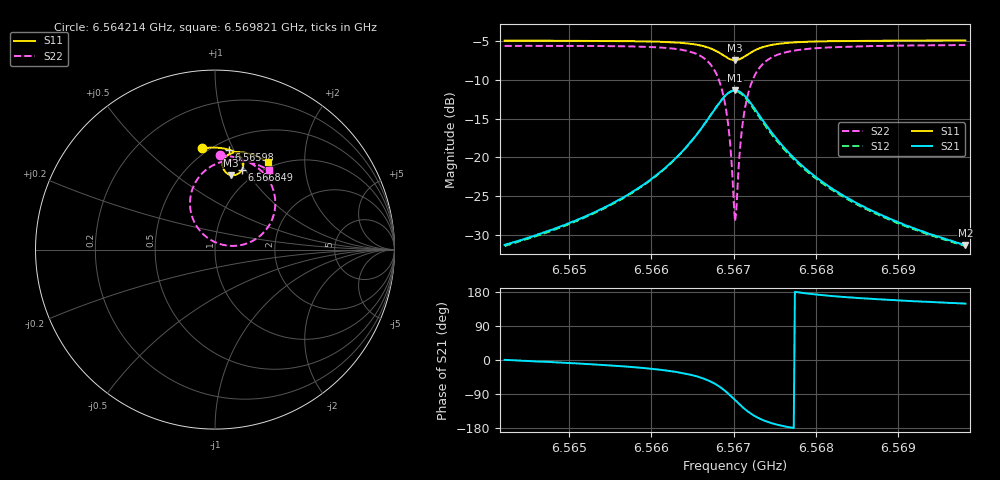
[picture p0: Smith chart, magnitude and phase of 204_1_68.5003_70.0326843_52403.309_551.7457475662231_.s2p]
#  HZ  S  RI  R  50.00
! Rohde & Schwarz Vector Network Analyzer
! Rohde-Schwarz,ZNB20-2Port,1311601062101988,3.16
! Created: UTC 3/20/2024, 4:57:44 PM
! freq[Hz]  re:S11  im:S11  re:S21  im:S21  re:S12  im:S12  re:S22  im:S22
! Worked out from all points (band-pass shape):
!   401 points, 6.564214 GHz to 6.569821 GHz, reference 50 ohm
!   highest |S21| = -11.32 dB at 6.567017 GHz (marker M1); lowest = -31.4 dB at 6.569821 GHz (marker M2)
!   |S21| within 3 dB of the highest: 6.566736 GHz to 6.567297 GHz (561.2 kHz wide, 0.00855 % of centre)
!   lowest |S11| = -7.4 dB at 6.567017 GHz (marker M3), VSWR 2.48, Z = 40.7 + j41.4 ohm
!   |S11| at or under -10 dB: nowhere
!   |S22| runs from -28.2 to -5.5 dB; largest |S21 - S12| = 0.013
!   S11 on the Smith chart (normalised r, x): 6.564214 GHz: 0.46, +0.77; 6.56598 GHz: 0.59, +0.96; 6.566849 GHz: 0.85, +0.96; 6.569821 GHz: 0.92, +1.33
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6.5642138e9  -0.0736 0.5643  0.0271 0.000203  0.0267 -0.000452  0.0262 0.5259
6.565153e9  0.00278 0.568  0.04 -0.00683  0.0394 -0.00741  0.114 0.5141
6.5659801e9  0.0788 0.5568  0.0655 -0.0275  0.0646 -0.0283  0.2176 0.4704
6.5660922e9  0.0903 0.5531  0.0714 -0.0339  0.0704 -0.0348  0.2357 0.4575
6.5663866e9  0.1236 0.5356  0.0908 -0.0633  0.0895 -0.0645  0.2916 0.3998
6.5666109e9  0.1494 0.5066  0.1052 -0.1136  0.103 -0.1156  0.3323 0.3024
6.5667511e9  0.1577 0.4736  0.0984 -0.1713  0.094 -0.1744  0.3266 0.1922
6.5668492e9  0.1494 0.4431  0.0664 -0.2236  0.059 -0.2264  0.2699 0.0939
6.5668912e9  0.1394 0.4303  0.0408 -0.2447  0.0319 -0.2464  0.2232 0.056
6.5669333e9  0.1249 0.4204  0.00747 -0.2604  -0.00305 -0.26  0.1623 0.0291
6.5669613e9  0.1132 0.416  -0.0183 -0.2657  -0.0295 -0.264  0.1154 0.021
6.5670034e9  0.0939 0.4146  -0.0595 -0.2647  -0.0709 -0.2599  0.0423 0.027
6.5670174e9  0.0875 0.4158  -0.0732 -0.2616  -0.0844 -0.2559  0.0188 0.0339
6.5670454e9  0.0752 0.42  -0.0991 -0.2513  -0.1093 -0.2438  -0.0256 0.0549
6.5670875e9  0.0598 0.431  -0.1323 -0.2279  -0.1403 -0.218  -0.0801 0.1005
6.5671295e9  0.049 0.4455  -0.1559 -0.1981  -0.1613 -0.1875  -0.1165 0.1558
6.5671856e9  0.0428 0.4664  -0.1725 -0.1565  -0.1745 -0.146  -0.138 0.2303
6.5672557e9  0.0451 0.49  -0.175 -0.1106  -0.1742 -0.1016  -0.1339 0.3102
6.567508e9  0.0834 0.533  -0.1328 -0.0246  -0.1298 -0.0208  -0.0373 0.4538
6.5679566e9  0.1439 0.5428  -0.0774 0.00828  -0.0755 0.00937  0.0905 0.4985
6.5688958e9  0.2298 0.5209  -0.0374 0.0147  -0.0366 0.0149  0.2202 0.4795
6.569821e9  0.2975 0.4874  -0.0232 0.014  -0.0226 0.0141  0.2992 0.4418
